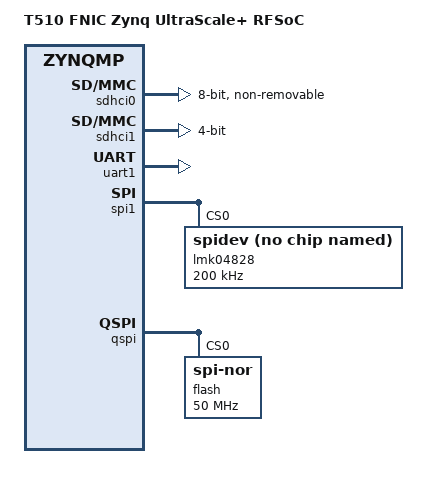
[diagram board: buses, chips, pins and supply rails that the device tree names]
/ {
	model = "T510 FNIC Zynq UltraScale+ RFSoC";
	compatible = "xlnx,zynqmp-rfsoc", "xlnx,zynqmp", "xlnx,zynqmp-2022.2";

	aliases {
		mmc0 = &sdhci1;
		mmc1 = &sdhci0;
		serial0 = &uart1;
		serial1 = &uart0;
	};

	chosen {
		stdout-path = "serial0:115200n8";
		bootargs = "console=ttyPS0,115200 earlycon=cdns,mmio,0xff010000 root=/dev/ram0 rw clk_ignore_unused";
	};
};

/*
 * RFDC 参数节点由 DTG 根据 T510_FNIC XSA 自动生成。
 * 用户态 RFDC 控制程序会从 usp_rf_data_converter 节点读取 param-list。
 */

&sdhci0 {
	status = "okay";
	bus-width = <8>;
	non-removable;
	disable-wp;
};

&sdhci1 {
	status = "okay";
	bus-width = <4>;
	disable-wp;
	no-1-8-v;
	max-frequency = <50000000>;
};

&uart1 {
	status = "okay";
};

&spi1 {
	status = "okay";
	num-cs = <1>;

	lmk04828@0 {
		compatible = "rohm,dh2228fv";
		status = "okay";
		reg = <0>;
		spi-max-frequency = <200000>;
	};
};

&qspi {
	status = "okay";
	is-dual = <1>;
	num-cs = <1>;
	spi-rx-bus-width = <4>;
	spi-tx-bus-width = <4>;

	flash@0 {
		compatible = "jedec,spi-nor";
		reg = <0>;
		spi-max-frequency = <50000000>;
		spi-rx-bus-width = <4>;
		spi-tx-bus-width = <1>;
		m25p,fast-read;
	};
};
